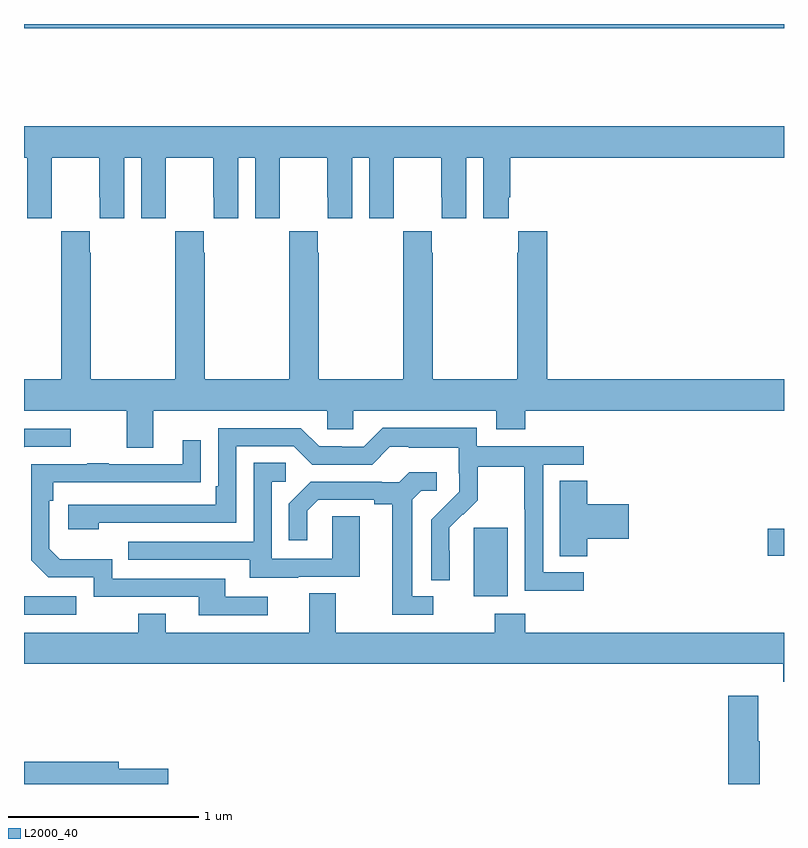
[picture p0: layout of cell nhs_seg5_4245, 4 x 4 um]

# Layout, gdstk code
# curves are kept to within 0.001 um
import gdstk
lib = gdstk.Library(unit=1e-6, precision=1e-09)
def R(c, l, rs):  # rectangles x0, y0, x1, y1
    for r in rs: c.add(gdstk.rectangle(r[:2], r[2:], *l))
def P(c, l, *ps):  # polygons
    for p in ps: c.add(gdstk.Polygon(p, *l))
L2000_40 = (2000, 40)

nhs_seg5_4245 = lib.new_cell('nhs_seg5_4245')
R(nhs_seg5_4245, L2000_40, [(361,851.691,361.276,851.787), (363.368,851.786,363.547,852.147), (364.914,852.001,365,852.143), (361,854.776,365,854.799)])
P(nhs_seg5_4245, L2000_40, [(361,854.096),(361.016,854.096),(361.016,853.776),(361.146,853.776),(361.146,853.888),(361.147,853.888),(361.147,854.096),(361.397,854.096),(361.397,853.888),(361.398,853.888),(361.398,853.776),(361.528,853.776),(361.528,854.096),(361.616,854.096),(361.616,853.776),(361.746,853.776),(361.746,853.888),(361.747,853.888),(361.747,854.096),(361.997,854.096),(361.997,853.888),(361.998,853.888),(361.998,853.776),(362.128,853.776),(362.128,854.096),(362.216,854.096),(362.216,853.776),(362.346,853.776),(362.346,853.888),(362.347,853.888),(362.347,854.096),(362.597,854.096),(362.597,853.888),(362.598,853.888),(362.598,853.776),(362.728,853.776),(362.728,854.096),(362.816,854.096),(362.816,853.776),(362.946,853.776),(362.946,853.888),(362.947,853.888),(362.947,854.096),(363.197,854.096),(363.197,853.888),(363.198,853.888),(363.198,853.776),(363.328,853.776),(363.328,854.096),(363.416,854.096),(363.416,853.776),(363.55,853.776),(363.55,853.888),(363.56,853.888),(363.56,854.096),(365,854.096),(365,854.26),(361,854.26)],
  [(361.681,852.764),(362.595,852.764),(362.595,852.666),(362.733,852.666),(362.733,852.764),(363.485,852.764),(363.485,852.665),(363.638,852.665),(363.638,852.764),(365,852.764),(365,852.928),(363.755,852.928),(363.755,853.708),(363.601,853.708),(363.601,853.595),(363.595,853.595),(363.595,852.928),(363.15,852.928),(363.15,853.595),(363.147,853.595),(363.147,853.708),(362.997,853.708),(362.997,853.595),(362.995,853.595),(362.995,852.928),(362.55,852.928),(362.55,853.595),(362.547,853.595),(362.547,853.708),(362.397,853.708),(362.397,853.595),(362.395,853.595),(362.395,852.928),(361.95,852.928),(361.95,853.595),(361.947,853.595),(361.947,853.708),(361.797,853.708),(361.797,853.595),(361.795,853.595),(361.795,852.928),(361.35,852.928),(361.35,853.595),(361.347,853.595),(361.347,853.708),(361.197,853.708),(361.197,853.595),(361.195,853.595),(361.195,852.928),(361,852.928),(361,852.764),(361.541,852.764),(361.541,852.57),(361.681,852.57)],
  [(363.946,851.913),(363.732,851.913),(363.732,852.48),(363.946,852.48),(363.946,852.576),(363.384,852.576),(363.384,852.673),(362.887,852.673),(362.787,852.573),(362.672,852.573),(362.672,852.576),(362.553,852.576),(362.457,852.672),(362.022,852.672),(362.022,852.367),(362.009,852.367),(362.009,852.27),(361.233,852.27),(361.233,852.14),(361.394,852.14),(361.394,852.174),(362.118,852.174),(362.118,852.576),(362.421,852.576),(362.517,852.48),(362.832,852.48),(362.925,852.573),(363.025,852.573),(363.025,852.569),(363.288,852.569),(363.288,852.435),(363.29,852.435),(363.29,852.338),(363.144,852.19),(363.144,851.872),(363.24,851.872),(363.239,852.149),(363.309,852.219),(363.312,852.216),(363.389,852.293),(363.389,852.468),(363.634,852.468),(363.634,852.244),(363.636,852.244),(363.636,851.815),(363.946,851.815)],
  [(361.002,852.573),(361.246,852.573),(361.246,852.669),(361,852.669),(361,852.571)],
  [(362.284,851.784),(362.059,851.784),(362.059,851.88),(361.464,851.88),(361.464,851.983),(361.187,851.983),(361.134,852.036),(361.134,852.29),(361.154,852.29),(361.154,852.387),(361.931,852.388),(361.931,852.607),(361.835,852.607),(361.835,852.483),(361.445,852.483),(361.445,852.488),(361.333,852.488),(361.333,852.483),(361.038,852.483),(361.038,851.976),(361.128,851.886),(361.368,851.886),(361.368,851.784),(361.919,851.784),(361.919,851.688),(362.284,851.688)],
  [(362.443,851.889),(362.767,851.889),(362.767,852.209),(362.622,852.209),(362.622,851.985),(362.304,851.985),(362.304,852.39),(362.377,852.39),(362.377,852.491),(362.208,852.491),(362.208,852.075),(361.549,852.075),(361.549,851.979),(362.189,851.979),(362.189,851.885),(362.443,851.885)],
  [(363.154,851.787),(363.043,851.787),(363.043,852.295),(363.09,852.342),(363.172,852.342),(363.172,852.439),(363.028,852.439),(362.976,852.387),(362.882,852.387),(362.882,852.39),(362.51,852.39),(362.394,852.274),(362.394,852.081),(362.491,852.081),(362.491,852.237),(362.548,852.294),(362.843,852.294),(362.843,852.272),(362.939,852.272),(362.939,851.691),(363.154,851.691)],
  [(363.965,852.089),(364.183,852.089),(364.183,852.272),(363.965,852.272),(363.965,852.395),(363.821,852.395),(363.821,851.998),(363.965,851.998)],
  [(365,851.596),(363.638,851.596),(363.638,851.695),(363.478,851.695),(363.478,851.596),(362.641,851.596),(362.641,851.804),(362.501,851.804),(362.501,851.596),(361.747,851.596),(361.747,851.695),(361.6,851.695),(361.6,851.596),(361,851.596),(361,851.432),(364.997,851.432),(364.997,851.336),(365,851.336)],
  [(364.872,851.024),(364.864,851.024),(364.864,851.263),(364.706,851.263),(364.706,850.799),(364.872,850.799)],
  [(361.759,850.88),(361.498,850.88),(361.498,850.916),(361,850.916),(361,850.799),(361.759,850.799)])

lib.write_gds('nhs_seg5_4245.gds')
